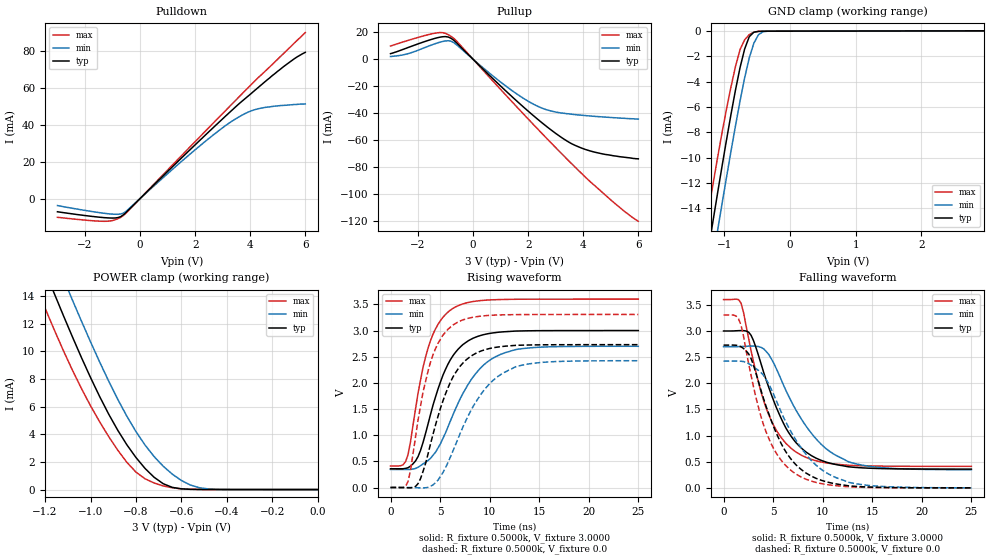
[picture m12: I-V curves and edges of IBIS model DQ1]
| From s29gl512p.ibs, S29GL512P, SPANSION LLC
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|   Model DQ1
[Model]  DQ1
Model_type I/O
Vinl =   0.9000V
Vinh =   2.1000V
Vmeas =  1.5000V
Cref =   30.0000pF
C_comp   2.0000pF   2.0000pF   2.0000pF
[Temperature Range]   25.0000   85.0000   -40.0000
[Pullup Reference]   3.0000V   2.7000V   3.6000V
[Pulldown Reference]   0.0V   0.0V   0.0V
[POWER Clamp Reference]   3.0000V   2.7000V   3.6000V
[GND Clamp Reference]   0.0V   0.0V   0.0V
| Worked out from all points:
|   slope of the pulldown table from 0 to 0.45 V, typ, clamps not added: 67.8 ohm
|   slope of the pullup table from 0 to 0.45 V, typ, clamps not added: 49.6 ohm
|   GND clamp passes 1 mA (typ) near -0.66 V on its own axis
|   POWER clamp passes 1 mA (typ) near -0.73 V on its own axis
|   rising waveform, R_fixture 0.5000k, V_fixture 3.0000: 20-80 % time 2.82ns typ, 3.84ns min, 2.21ns max; typ from 0.359 V to 3 V
|   rising waveform, R_fixture 0.5000k, V_fixture 0.0: 20-80 % time 2.88ns typ, 3.97ns min, 2.24ns max; typ from 0.001 V to 2.73 V
|   falling waveform, R_fixture 0.5000k, V_fixture 3.0000: 20-80 % time 3.59ns typ, 4.5ns min, 3.08ns max; typ from 3 V to 0.358 V
|   falling waveform, R_fixture 0.5000k, V_fixture 0.0: 20-80 % time 3.54ns typ, 4.36ns min, 3.07ns max; typ from 2.73 V to 0 V
[Pulldown]
|Voltage   I(typ)   I(min)   I(max)
-3V       -7.16mA    -3.81mA    -10.16mA
-1.2V     -10.45mA   -8.16mA    -12.3mA
-800mV    -10.32mA   -8.53mA    -10.9mA
-600mV    -8.751mA   -7.861mA   -9.128mA
2.1V      30.56mA    27.7mA     32.39mA
3V        43.24mA    38.41mA    46.12mA
3.5V      50.12mA    43.47mA    53.7mA
4V        56.51mA    47.34mA    61.23mA
4.4V      61.62mA    49.04mA    67.07mA
5.3V      72.51mA    50.59mA    79.93mA
5.7V      76.77mA    51.04mA    85.74mA
6V        79.28mA    51.3mA     90mA
[Pullup]
|Voltage   I(typ)   I(min)   I(max)
-3V       4.18mA     2.06mA     9.83mA
-2.3V     9.2mA      4.53mA     14.41mA
-1.3V     15.99mA    12.1mA     19.67mA
-1V       16.84mA    13.64mA    19.23mA
-800mV    15.57mA    13.4mA     17.02mA
1.2V      -23.72mA   -20.04mA   -26.84mA
1.8V      -34.92mA   -28.63mA   -40mA
2.4V      -45.45mA   -35.4mA    -52.93mA
3.3V      -59.27mA   -40.12mA   -71.82mA
3.9V      -65.61mA   -41.48mA   -84mA
4.7V      -70.26mA   -42.8mA    -98.97mA
6V        -73.93mA   -44.43mA   -120.3mA
[GND_clamp]
|Voltage   I(typ)   I(min)   I(max)
-3V       -75.77mA   -77.81mA   -73.11mA
-1.32V    -19.77mA   -22.66mA   -16.76mA
-1.25V    -17.51mA   -20.43mA   -14.54mA
-1.18V    -15.27mA   -18.21mA   -12.35mA
-1.11V    -13.05mA   -16mA      -10.23mA
-1.04V    -10.86mA   -13.82mA   -8.195mA
-830mV    -4.675mA   -7.498mA   -2.814mA
-690mV    -1.422mA   -3.701mA   -694.9uA
-550mV    -95.97uA   -969.3uA   -93.26uA
-480mV    -32.5uA    -297.2uA   -34.91uA
-340mV    -18.5uA    -22.15uA   -21.13uA
2.95V     9.466uA    11.01uA    6.466uA
[POWER_clamp]
|Voltage   I(typ)   I(min)   I(max)
-3V       95.62mA    96.76mA    93.67mA
-1.24V    17.47mA    20.13mA    14.73mA
-1.2V     15.82mA    18.5mA     13.13mA
-1.16V    14.21mA    16.89mA    11.58mA
-1.08V    11.07mA    13.73mA    8.661mA
-960mV    6.746mA    9.248mA    4.918mA
-840mV    3.252mA    5.315mA    1.985mA
-720mV    900.1uA    2.399mA    486.5uA
-640mV    170uA      1.126mA    139uA
-560mV    29.4uA     337.8uA    32.8uA
-480mV    15.26uA    54.7uA     17.13uA
0V        9.881uA    8.893uA    11.86uA
[Ramp]
| variable   typ   min   max
dV/dt_r  1.6375/2.8471n   1.4533/3.9254n   1.9836/2.2124n
dV/dt_f  1.5845/3.5630n   1.4116/4.4540n   1.9127/3.0477n
R_load = 0.5000k
[Rising Waveform]
R_fixture= 0.5000k
V_fixture= 3.0000
V_fixture_min= 2.7000
V_fixture_max= 3.6000
|time   V(typ)   V(min)   V(max)
0s        358.9mV    346mV      412mV
1.52ns    366.3mV    345.7mV    494.8mV
2.02ns    409.6mV    346.5mV    877.3mV
2.78ns    591.8mV    387.2mV    1.807V
3.54ns    1.037V     483.2mV    2.496V
4.29ns    1.576V     617.9mV    2.932V
6.31ns    2.522V     1.394V     3.425V
8.33ns    2.853V     2.113V     3.554V
11.11ns   2.971V     2.545V     3.592V
25ns      3V         2.699V     3.6V
[Rising Waveform]
R_fixture= 0.5000k
V_fixture= 0.0
V_fixture_min= 0.0
V_fixture_max= 0.0
|time   V(typ)   V(min)   V(max)
0s        891uV      857.5uV    1.024mV
1.77ns    -4.781mV   121.5uV    116.3mV
2.78ns    75.66mV    -4.733mV   1.291V
3.28ns    307.2mV    -6.133mV   1.822V
4.29ns    1.019V     50.25mV    2.539V
5.3ns     1.661V     290mV      2.914V
6.31ns    2.116V     704.4mV    3.107V
9.09ns    2.606V     1.773V     3.275V
12.37ns   2.713V     2.284V     3.304V
25ns      2.73V      2.423V     3.307V
[Falling Waveform]
R_fixture= 0.5000k
V_fixture= 3.0000
V_fixture_min= 2.7000
V_fixture_max= 3.6000
|time   V(typ)   V(min)   V(max)
0s        2.999V     2.699V     3.599V
1.77ns    3.007V     2.702V     3.529V
2.78ns    2.916V     2.711V     2.618V
3.79ns    2.368V     2.685V     1.827V
4.8ns     1.795V     2.475V     1.293V
6.06ns    1.229V     1.959V     903.1mV
7.32ns    862.4mV    1.482V     683.1mV
9.85ns    525.8mV    833.6mV    495.1mV
12.63ns   402.6mV    497.3mV    431.7mV
25ns      358.2mV    346.4mV    411.2mV
[Falling Waveform]
R_fixture= 0.5000k
V_fixture= 0.0
V_fixture_min= 0.0
V_fixture_max= 0.0
|time   V(typ)   V(min)   V(max)
0s        2.729V     2.423V     3.306V
1.52ns    2.716V     2.423V     3.228V
2.53ns    2.562V     2.376V     2.378V
3.54ns    2.019V     2.244V     1.527V
4.55ns    1.424V     1.995V     950.4mV
5.81ns    848.4mV    1.452V     528.9mV
7.07ns    489.5mV    985mV      294.7mV
9.34ns    181.3mV    432.6mV    103.5mV
12.63ns   38.86mV    106.1mV    20.59mV
25ns      181.4uV    723.6uV    73.68uV
